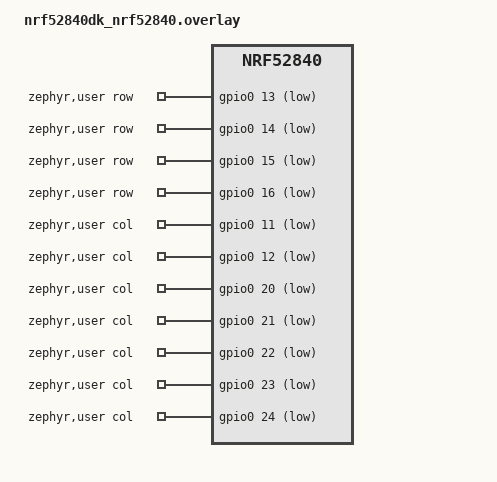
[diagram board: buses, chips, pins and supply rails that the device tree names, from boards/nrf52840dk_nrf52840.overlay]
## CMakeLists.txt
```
cmake_minimum_required(VERSION 3.31)
find_package(Zephyr REQUIRED HINTS $ENV{ZEPHYR_BASE})
project(graphing-calculator)

target_sources(app PRIVATE src/main.c)
target_sources(app PRIVATE src/function.c)
target_sources(app PRIVATE src/stackf.c)
target_sources(app PRIVATE src/graph_display.c)
target_sources(app PRIVATE src/fsm.c)
target_sources(app PRIVATE src/keypad.c)
target_sources(app PRIVATE ../drivers/LED/led.c)
target_sources(app PRIVATE ../drivers/BTN/btn.c)

target_include_directories(app PRIVATE
    ${CMAKE_CURRENT_SOURCE_DIR}/../drivers
)
target_include_directories(app PRIVATE
    ${CMAKE_CURRENT_SOURCE_DIR}/../drivers/BTN
)
target_include_directories(app PRIVATE
    ${CMAKE_CURRENT_SOURCE_DIR}/../drivers/LED
)
```

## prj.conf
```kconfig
CONFIG_GPIO=y
CONFIG_SMF=y
CONFIG_TIMING_FUNCTIONS=y

CONFIG_NEWLIB_LIBC=y

# Including floating point output for debug.
CONFIG_FPU=y
CONFIG_CBPRINTF_FP_SUPPORT=y


# Used for display
CONFIG_DISPLAY=y
CONFIG_LVGL=y
CONFIG_LV_Z_MEM_POOL_SIZE=32768
CONFIG_MAIN_STACK_SIZE=4096
```

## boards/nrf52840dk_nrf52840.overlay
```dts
/ {   
  zephyr,user {
    row_gpios = <&gpio0 13 (GPIO_PULL_UP | GPIO_ACTIVE_LOW)>, <&gpio0 14 (GPIO_PULL_UP | GPIO_ACTIVE_LOW)>, 
                <&gpio0 15 (GPIO_PULL_UP | GPIO_ACTIVE_LOW)>, <&gpio0 16 (GPIO_PULL_UP | GPIO_ACTIVE_LOW)>;

    col_gpios = <&gpio0 11 (GPIO_PULL_UP | GPIO_ACTIVE_LOW)>, <&gpio0 12 (GPIO_PULL_UP | GPIO_ACTIVE_LOW)>,
                <&gpio0 20 (GPIO_PULL_UP | GPIO_ACTIVE_LOW)>, <&gpio0 21 (GPIO_PULL_UP | GPIO_ACTIVE_LOW)>,
                <&gpio0 22 (GPIO_PULL_UP | GPIO_ACTIVE_LOW)>, <&gpio0 23 (GPIO_PULL_UP | GPIO_ACTIVE_LOW)>,
                <&gpio0 24 (GPIO_PULL_UP | GPIO_ACTIVE_LOW)>;
  };
};
```

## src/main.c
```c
#include <zephyr/kernel.h>
#include <zephyr/drivers/gpio.h>
#include <zephyr/sys/printk.h>
#include <zephyr/device.h>

#include "fsm.h"


#define SLEEP_MS 1

int main(void) {
  if (fsm_init() < 0) {
    printk("fsm_init(): failed\n");
  }

  while(1) {
    fsm_run();
    k_msleep(SLEEP_MS);
  }
}
```

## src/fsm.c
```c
#include "fsm.h"

#include <string.h>
#include <zephyr/kernel.h>
#include <zephyr/smf.h>
#include <zephyr/drivers/gpio.h>
#include <zephyr/sys/printk.h>

#include <stdio.h>

#include "function.h"
#include "graph_display.h"
#include "BTN.h"
#include "keypad.h"
#include "stackf.h"

#define FSM_DEBUG 0

#define MAX_FUNCTIONS 5
#define MAX_FUNCTION_TOKENS 32
static Function functions[MAX_FUNCTIONS];
FUNCTION_TOKEN_BUFFER(infix, MAX_FUNCTION_TOKENS);
FUNCTION_TOKEN_BUFFER(postfix, MAX_FUNCTION_TOKENS);
static char input_buffer[MAX_FUNCTION_TOKENS * TOKEN_MAX_LENGTH]; 


static void dead_state(void *o);

static void setup_entry(void *o);

static void draw_entry(void *o);
static enum smf_state_result draw_run(void *o);

static void get_function_entry(void *o);
static enum smf_state_result get_function_run(void *o);
static void get_function_exit(void *o);

static void delete_entry(void *o);


enum fsm_state_def {
  DEAD,
  SETUP,
  DRAW,
  GET_FUNCTION,
  DELETE,
};

typedef struct {
  struct smf_ctx ctx;
} fsm_obj_t;


static const struct smf_state states[] = {
  [DEAD] = SMF_CREATE_STATE(dead_state, NULL, NULL, NULL, NULL),
  [SETUP] = SMF_CREATE_STATE(setup_entry, NULL, NULL, NULL, NULL),
  [DRAW] = SMF_CREATE_STATE(draw_entry, draw_run, NULL, NULL, NULL),
  [GET_FUNCTION] = SMF_CREATE_STATE(get_function_entry, get_function_run, get_function_exit, NULL, NULL),
  [DELETE] = SMF_CREATE_STATE(delete_entry, NULL, NULL, NULL, NULL),
};

static fsm_obj_t fsm_obj;

/*
* Primary Functions
*/
int8_t fsm_init(void) { 
  smf_set_initial(SMF_CTX(&fsm_obj), &states[SETUP]);
  return 0;
}

enum smf_state_result fsm_run(void) {
  return smf_run_state(SMF_CTX(&fsm_obj));
}

/*
* State functions
*/
static void dead_state(void *o) {
#if FSM_DEBUG == 1
  printk("State: DEAD\n");
#endif
}

static void setup_entry(void *o) {
#if FSM_DEBUG == 1
  printk("State: SETUP -> entry\n");
  
  // Init on-board button for debugging purposes
  if (BTN_init() < 0) {
    printk("BTN_init(): failed at line %d in %s\n", __LINE__, __FILE__);
  }
#endif
  if (keypad_init() < 0) {
    smf_set_state(SMF_CTX(&fsm_obj), &states[DEAD]);
    return;
  }

  // Initialize display and screen
  if (display_init() < 0) {
    printk("display_init(): failed at line %d in %s\n", __LINE__, __FILE__);
    smf_set_state(SMF_CTX(&fsm_obj), &states[DEAD]);
    return;
  }

  for (uint8_t i = 0; i < MAX_FUNCTIONS; i++) {
    functions[i].is_active = false;
  }
  smf_set_state(SMF_CTX(&fsm_obj), &states[DRAW]);
}

static void draw_entry(void *o) {
#if FSM_DEBUG == 1
  printk("State: DRAW -> entry\n");
#endif
  display_clean();

  graph_draw_axes();
  for (uint8_t i = 0; i < MAX_FUNCTIONS; i++) {
    if (functions[i].is_active) {
      graph_draw_function(&functions[i]);
    }
  }
}

static enum smf_state_result draw_run(void *o) {
#if FSM_DEBUG == 1
  if (BTN_check_clear_pressed(BTN0)) {
    smf_set_state(SMF_CTX(&fsm_obj), &states[GET_FUNCTION]);
  }

  if (BTN_check_clear_pressed(BTN1)) {
    smf_set_state(SMF_CTX(&fsm_obj), &states[DELETE]);
  }
#endif
  //enum key test = get_key();
  //if (test != KEY_NONE) {
  //  printk("%d\n", test);
  //}
  
  enum key key = keypad_get_key();
  if (key == KEY_GET) {
    smf_set_state(SMF_CTX(&fsm_obj), &states[GET_FUNCTION]);
  }
  else if (key == KEY_DEL) {
    smf_set_state(SMF_CTX(&fsm_obj), &states[DELETE]);
  }

  display_timer_handler(); 

  return SMF_EVENT_HANDLED;
}

static void get_function_entry(void *o) {
#if FSM_DEBUG == 1
  printk("State: GET_FUNCTION -> entry\n"); 
#endif
  input_buffer[0] = '\0';

  graph_draw_get_function(input_buffer, GET_FUNCTION_DRAW);
}

static enum smf_state_result get_function_run(void *o) {
#if FSM_DEBUG == 1
  if (BTN_check_clear_pressed(BTN0)) {
    smf_set_state(SMF_CTX(&fsm_obj), &states[DRAW]);
  }

  if (BTN_check_clear_pressed(BTN1)) {
    snprintk(input_buffer, MAX_FUNCTION_TOKENS * TOKEN_MAX_LENGTH,"%s%s", input_buffer, "sin ( x )");
    graph_draw_get_function(input_buffer, GET_FUNCTION_UPDATE); 
  }

#endif 

  enum key key = keypad_get_key();
  if (key != 255) {
    printk("%d\n", key);
  }

  const char *key_str = keypad_key_to_str(key);

  static bool prev_is_digit = true;
  static size_t cur_len;
  cur_len = 0;
  STACKF_INIT(len_stack);

  // Case for inputting a literal.
  if (key >= KEY_0 && key <= KEY_DOT) { 
    if (!prev_is_digit) {
      snprintk(input_buffer, MAX_FUNCTION_TOKENS * TOKEN_MAX_LENGTH,"%s%s", input_buffer, " ");
      cur_len++;
    }
    snprintk(input_buffer, MAX_FUNCTION_TOKENS * TOKEN_MAX_LENGTH,"%s%s", input_buffer, key_str);
    cur_len += strlen(key_str);

    prev_is_digit = true;
    graph_draw_get_function(input_buffer, GET_FUNCTION_UPDATE); 
  }
  // Case for other input keys. 
  else if (key != KEY_NONE && key != KEY_DEL && key != KEY_GET) {
    snprintk(input_buffer, MAX_FUNCTION_TOKENS * TOKEN_MAX_LENGTH,"%s%s", input_buffer, " ");
    snprintk(input_buffer, MAX_FUNCTION_TOKENS * TOKEN_MAX_LENGTH,"%s%s", input_buffer, key_str);
    cur_len += 1 + strlen(key_str);

    prev_is_digit = false;
    graph_draw_get_function(input_buffer, GET_FUNCTION_UPDATE); 
  } 
  // Case for deleting last input.
  else if (key == KEY_DEL && (int)stackf_peek(&len_stack) != 0) {
    input_buffer[strlen(input_buffer) - (size_t)stackf_pop(&len_stack)] = '\0'; 
    graph_draw_get_function(input_buffer, GET_FUNCTION_UPDATE);
  }
  // Case for exiting and drawing the input function.
  else if (key == KEY_GET) {
    smf_set_state(SMF_CTX(&fsm_obj), &states[DRAW]); 
  }

  if (cur_len > 0) {
    stackf_push(&len_stack, cur_len);
  }

  display_timer_handler();
  return SMF_EVENT_HANDLED;
}

static void get_function_exit(void *o) {
#if FSM_DEBUG == 1
  printk("State: GET_FUNCTION -> exit\n");
#endif
  // Convert the input buffer to the infix token buffer
  uint16_t i = 0;
  char* token = strtok(input_buffer, " ");
  while (token) {
    strcpy(infix[i], token);
    token = strtok(NULL, " ");
    i++;
  }
  infix[i][0] = '\0';

  // Evaluate the infix token buffer as a new function
  for (uint8_t j = 0; j < MAX_FUNCTIONS; j++) {
    if (!functions[j].is_active) {
      if (function_infix_to_postfix(infix, postfix, MAX_FUNCTION_TOKENS) < 0) break;
      float x = X_MIN;
      for (uint16_t k = 0; k < FUNCTION_NUM_POINTS; k++) {
        functions[j].x[k] = x;
        functions[j].y[k] = function_evaluate_postfix(postfix, x);
        x += X_INCREMENT;
      }    
      functions[j].is_active = true;
      break;
    }
  }
}

static void delete_entry(void *o) {
#if FSM_DEBUG == 1
  printk("State: DELETE -> entry\n");
#endif
  uint8_t i = 0;
  while (i < MAX_FUNCTIONS && functions[i].is_active) i++;
  functions[i - 1].is_active = false;
  
  smf_set_state(SMF_CTX(&fsm_obj), &states[DRAW]);
}
```

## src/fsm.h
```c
/**
 * Manages the graphing calculator state machine
 */

#ifndef FSM_H_
#define FSM_H_

#include <zephyr/smf.h>

/**
 * Initializes the state machine
 */
int8_t fsm_init(void);

/**
 * Runs the current state of the state machine
 */
enum smf_state_result fsm_run(void);

#endif
```

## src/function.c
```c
#include "function.h"

#include <zephyr/kernel.h>

#include <stdbool.h>
#include <stdlib.h>
#include <string.h>
#include <math.h>

#include "stackf.h"


#define IS_OPERATOR(str) (__function_get_token_type(str) == TOKEN_OPERATOR)
#define IS_FUNCTION(str) (__function_get_token_type(str) == TOKEN_FUNCTION)
#define IS_LEFT_PARENTHESIS(str) (!strncmp((str), "(", TOKEN_MAX_LENGTH - 1))
#define GET_PRECEDENCE(str) (__function_get_operator_attribute((str), OPERATOR_PRECEDENCE))
#define GET_ASSOCIATIVITY(str) (__function_get_operator_attribute((str), OPERATOR_ASSOCIATIVITY))

static TokenType __function_get_token_type(const char *token);
static float __function_get_constant(const char *token);
static int8_t __function_get_operator_attribute(const char *token, OperatorAttribute attribute);

static const Token possible_tokens[] = {
  // Operators
  { .token_type=TOKEN_OPERATOR, .operator={ "+", 2, __LEFT } },
  { .token_type=TOKEN_OPERATOR, .operator={ "-", 2, __LEFT } },
  { .token_type=TOKEN_OPERATOR, .operator={ "*", 3, __LEFT } },
  { .token_type=TOKEN_OPERATOR, .operator={ "/", 3, __LEFT } },
  { .token_type=TOKEN_OPERATOR, .operator={ "^", 4, __RIGHT } },

  // Functions
  { .token_type=TOKEN_FUNCTION, .function="sin" },
  { .token_type=TOKEN_FUNCTION, .function="cos" },
  { .token_type=TOKEN_FUNCTION, .function="tan" },
  { .token_type=TOKEN_FUNCTION, .function="abs" },
  { .token_type=TOKEN_FUNCTION, .function="sqrt" },
  { .token_type=TOKEN_FUNCTION, .function="ln" },
  { .token_type=TOKEN_FUNCTION, .function="floor" },
  { .token_type=TOKEN_FUNCTION, .function="ceil" },

  // Constants
  { .token_type=TOKEN_CONSTANT, .constant={ "pi",  _M_PI } },
  { .token_type=TOKEN_CONSTANT, .constant={ "e",  _M_E } },

  // Used to indicate searching for token should stop.
  { .token_type=TOKEN_NONE },
};



/**
 * Implements a shunting-yard algorithm for infix to postfix conversion
 */
int8_t function_infix_to_postfix(char (*infix)[TOKEN_MAX_LENGTH], char (*postfix)[TOKEN_MAX_LENGTH], size_t token_buffer_size) {
  OPERATOR_STACK_INIT(operator_stack);
  operator_stack.top = -1;  // Reset stack state because it is static.

  char operator_stack_element_buffer[TOKEN_MAX_LENGTH];

  size_t i = 0;
  // Loops through all tokens in infix form, converting it to postfix form
  while((*infix)[0] != '\0' && i < token_buffer_size - 1) {
    char *token = *infix;
    TokenType token_type = __function_get_token_type(token);

    if(token_type == TOKEN_NONE) return -1;  // Fails if token is not a valid type.

    // Case for if token is a float literal or constant.
    if(token_type == TOKEN_LITERAL || token_type == TOKEN_CONSTANT || token_type == TOKEN_X) {
      strncpy(*postfix, token, TOKEN_MAX_LENGTH - 1);
      postfix++;
    }

    // Case for if token is a function.
    else if(token_type == TOKEN_FUNCTION) {
      ostack_push(&operator_stack, token); 
    }

    // Case for if token is an operator.
    else if(token_type == TOKEN_OPERATOR) {
      while(ostack_peek(&operator_stack, operator_stack_element_buffer) != NULL &&
            IS_OPERATOR(operator_stack_element_buffer) && 
            !IS_LEFT_PARENTHESIS(operator_stack_element_buffer) &&
            (GET_PRECEDENCE(operator_stack_element_buffer) > GET_PRECEDENCE(token) ||
             (GET_PRECEDENCE(operator_stack_element_buffer) == GET_PRECEDENCE(token) &&
              GET_ASSOCIATIVITY(token) == __LEFT))) 
      {
        ostack_pop(&operator_stack, *postfix);
        postfix++;
      }
      ostack_push(&operator_stack, token);
    }

    // Case for if token is a left parenthesis.
    else if(token_type == TOKEN_PARENTHESIS && !strncmp(token, "(", TOKEN_MAX_LENGTH - 1)) {
      ostack_push(&operator_stack, token);
    }

    // Case for if token is a right parenthesis.
    else if(token_type == TOKEN_PARENTHESIS && !strncmp(token, ")", TOKEN_MAX_LENGTH - 1)) {
      while(ostack_peek(&operator_stack, operator_stack_element_buffer) != NULL &&
            strncmp(operator_stack_element_buffer, "(", TOKEN_MAX_LENGTH - 1))
      {
        // Mismatched parentheses
        if(ostack_peek(&operator_stack, operator_stack_element_buffer) == NULL) {
          return -1;
        }
        ostack_pop(&operator_stack, *postfix);
        postfix++;
      }
      // Mismatched parentheses
      if(ostack_peek(&operator_stack, operator_stack_element_buffer) != NULL &&
         strncmp(operator_stack_element_buffer, "(", TOKEN_MAX_LENGTH - 1))
      {
          return -1;
      } 
      ostack_pop(&operator_stack, operator_stack_element_buffer); // Discard left parentheses.
      if(ostack_peek(&operator_stack, operator_stack_element_buffer) != NULL &&
         IS_FUNCTION(operator_stack_element_buffer))
      {
        ostack_pop(&operator_stack, *postfix);
        postfix++;
      }
    }

    infix++;
    i++;
  } 

  // Pop the remaining items from the operator stack to the postfix queue.
  while(ostack_peek(&operator_stack, operator_stack_element_buffer) != NULL) {
    // Mismatched parentheses.
    if(!strncmp(operator_stack_element_buffer, "(", TOKEN_MAX_LENGTH - 1)) {
      return -1;
    }
    
    ostack_pop(&operator_stack, *postfix);

    postfix++;
  }
 
  // Ensures the final token of each postfix expression is known.
  (*postfix)[0] = '\0';
  
  return 0;
}


float function_evaluate_postfix(char (*postfix)[TOKEN_MAX_LENGTH], float x_val) {
  STACKF_INIT(operand_stack);
  operand_stack.top = -1;  // Reset stack state because it is static.

  while(*postfix[0]) {
    char *token = *postfix;
    TokenType token_type = __function_get_token_type(token);

    // Pushing any numbers, or x, to the operand stack.
    if(token_type == TOKEN_LITERAL) {
      stackf_push(&operand_stack, strtod(token, NULL));
    }
    else if(token_type == TOKEN_CONSTANT) {
      stackf_push(&operand_stack, __function_get_constant(token));
    }
    else if(token_type == TOKEN_X) {
      stackf_push(&operand_stack, x_val);
    }

    // Apply a unary function to the next operand on the stack.
    else if(token_type == TOKEN_FUNCTION) {
      if(!strncmp(token, "sin", TOKEN_MAX_LENGTH - 1)) {
        stackf_push(&operand_stack, (float)sin((double)stackf_pop(&operand_stack)));
      }
      else if(!strncmp(token, "cos", TOKEN_MAX_LENGTH - 1)) {
        stackf_push(&operand_stack, (float)cos((double)stackf_pop(&operand_stack)));
      }
      else if(!strncmp(token, "tan", TOKEN_MAX_LENGTH - 1)) {
        stackf_push(&operand_stack, (float)tan((double)stackf_pop(&operand_stack)));
      }
      else if(!strncmp(token, "abs", TOKEN_MAX_LENGTH - 1)) {
        stackf_push(&operand_stack, (float)fabs((double)stackf_pop(&operand_stack)));
      }
      else if(!strncmp(token, "sqrt", TOKEN_MAX_LENGTH - 1)) {
        stackf_push(&operand_stack, (float)sqrt((double)stackf_pop(&operand_stack)));
      }
      else if(!strncmp(token, "ln", TOKEN_MAX_LENGTH - 1)) {
        stackf_push(&operand_stack, (float)log((double)stackf_pop(&operand_stack)));
      }
      else if(!strncmp(token, "floor", TOKEN_MAX_LENGTH - 1)) {
        stackf_push(&operand_stack, (float)floor((double)stackf_pop(&operand_stack)));
      }
      else if(!strncmp(token, "ceil", TOKEN_MAX_LENGTH - 1)) {
        stackf_push(&operand_stack, (float)ceil((double)stackf_pop(&operand_stack)));
      }
    }

    // Apply binary operators to the next two operands on the stack.
    else if(token_type == TOKEN_OPERATOR) {
      float operand_one = stackf_pop(&operand_stack);
      float operand_two = stackf_pop(&operand_stack);
      if(!strncmp(token, "+", TOKEN_MAX_LENGTH - 1)) {
        stackf_push(&operand_stack, operand_two + operand_one);
      }
      else if(!strncmp(token, "-", TOKEN_MAX_LENGTH - 1)) {
        stackf_push(&operand_stack, operand_two - operand_one);
      }
      else if(!strncmp(token, "*", TOKEN_MAX_LENGTH - 1)) {
        stackf_push(&operand_stack, operand_two * operand_one);
      }
      else if(!strncmp(token, "/", TOKEN_MAX_LENGTH - 1)) {
        stackf_push(&operand_stack, operand_two / operand_one);
      }
      else if(!strncmp(token, "^", TOKEN_MAX_LENGTH - 1)) {
        stackf_push(&operand_stack, (float)pow((double)operand_two, (double)operand_one));
      }
    }

    postfix++;
  }
  
  return stackf_pop(&operand_stack);
}


static TokenType __function_get_token_type(const char *token) { 
  // Compare token with the defined token types
  const Token *possible_token = possible_tokens;
  while(possible_token->token_type != TOKEN_NONE) { 
    if(possible_token->token_type == TOKEN_OPERATOR && !strncmp(possible_token->operator.symbol, token, TOKEN_MAX_LENGTH - 1)) {
      return TOKEN_OPERATOR;
    }
    else if(possible_token->token_type == TOKEN_FUNCTION && !strncmp(possible_token->function, token, TOKEN_MAX_LENGTH - 1)) {
      return TOKEN_FUNCTION;
    }
    else if(possible_token->token_type == TOKEN_CONSTANT && !strncmp(possible_token->constant.symbol, token, TOKEN_MAX_LENGTH - 1)) {
      return TOKEN_CONSTANT;
    }

    possible_token++;
  } 

  // Check if token is a float literal.
  char *endptr;
  strtod(token, &endptr);
  if(endptr != token) return TOKEN_LITERAL;

  // Check if TOKEN is a symbol of none of the above types.
  if(strlen(token) == 1) {
    char token_chr = token[0];
    if(token_chr == 'x') return TOKEN_X;
    else if(token_chr == '(' || token_chr == ')') return TOKEN_PARENTHESIS;
  }


  return TOKEN_NONE;
}

static float __function_get_constant(const char *token) {
  const Token *possible_token = possible_tokens;
  while(possible_tokens->token_type != TOKEN_NONE) {
    if(possible_token->token_type == TOKEN_CONSTANT && !strncmp(possible_token->constant.symbol, token, TOKEN_MAX_LENGTH - 1)) {
      return possible_token->constant.value;
    }

    possible_token++;
  }

  return 0.0;
}

static int8_t __function_get_operator_attribute(const char *token, OperatorAttribute attribute) {
  const Token *possible_token = possible_tokens;
  while(possible_tokens->token_type != TOKEN_NONE) {
    if(possible_token->token_type == TOKEN_OPERATOR && !strncmp(possible_token->operator.symbol, token, TOKEN_MAX_LENGTH - 1)) {
      if(attribute == OPERATOR_PRECEDENCE) {
        return possible_token->operator.precedence;
      }
      else if(attribute == OPERATOR_ASSOCIATIVITY) {
        return possible_token->operator.associativity;
      }
    }

    possible_token++;
  }

  return 0;
}

/*
* Operator Stack Components
*/
char *ostack_peek(OperatorStack *stack, char *dest) {
  if(stack->top == -1) return NULL;

  return strncpy(dest, stack->data[stack->top], TOKEN_MAX_LENGTH - 1);
}

char *ostack_pop(OperatorStack *stack, char *dest) {
  if(stack->top == -1) return NULL;

  char *ret = strncpy(dest, stack->data[stack->top], TOKEN_MAX_LENGTH - 1);
  stack->top--;

  return ret;
}

int8_t ostack_push(OperatorStack *stack, char *str) {
  if(stack->top == OPERATOR_STACK_CAPACITY - 1) return 0;

  stack->top++;

  strncpy(stack->data[stack->top], str, TOKEN_MAX_LENGTH - 1);

  return 1;
}
```

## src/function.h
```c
#ifndef FUNCTION_H_
#define FUNCTION_H_

#include "misc/lv_area.h"
#include "misc/lv_style.h"
#include <stdbool.h>
#include <stdint.h>
#include <stddef.h>

#define TOKEN_MAX_LENGTH 8
#define FUNCTION_NUM_POINTS 512

// Should end with a NULL.
#define FUNCTION_TOKEN_BUFFER(name, size) static char (name)[size][TOKEN_MAX_LENGTH]

#define __LEFT 'L'
#define __RIGHT 'R'

#define _M_PI 3.14159265358979323846
#define _M_E  2.7182818284590452354

/**
 * Contains information about a function, including all its points in
 * floating-point format, as well as the LVGL points to draw
 */
typedef struct Function {
  float x[FUNCTION_NUM_POINTS];
  float y[FUNCTION_NUM_POINTS];
  lv_point_precise_t points[FUNCTION_NUM_POINTS];
  lv_style_t style;
  bool is_active;
} Function;

/**
 * Different types of tokens that arre recognized by the function parser
 */
typedef enum TokenType {
  TOKEN_NONE,
  TOKEN_OPERATOR,
  TOKEN_FUNCTION,
  TOKEN_CONSTANT,
  TOKEN_LITERAL,
  TOKEN_PARENTHESIS,
  TOKEN_X
} TokenType;

/**
 * Operator attributes required for each operator when converting to postfix
 * notation
 */
typedef enum OperatorAttribute {
  OPERATOR_PRECEDENCE,
  OPERATOR_ASSOCIATIVITY
} OperatorAttribute;


/**
 * Describes a single operator in its required detail
 */
typedef struct Operator {
  char *symbol;
  int8_t precedence;
  char associativity;
} Operator;

/**
 * Describes constant values (e.g. pi)
 */
typedef struct Constant {
  char *symbol;
  float value;
} Constant;

/**
 * Describes a single token of an input infix string
 */
typedef struct Token {
  TokenType token_type;
  union {
    Operator operator;
    char *function;
    Constant constant;
  };
} Token;

/**
 * Performs a full infix to postfix function conversion, which must be ones
 * before it can be evaluated for a given x input.
 *
 * Returns a negative integer on failure.
 */
int8_t function_infix_to_postfix(char (*infix)[TOKEN_MAX_LENGTH], char (*postfix)[TOKEN_MAX_LENGTH], size_t token_buffer_size);

/**
 * Evaluates a given postfix function for a given input x value. Evaluates y,
 * and returns it.
 */
float function_evaluate_postfix(char (*postfix)[TOKEN_MAX_LENGTH], float x_val);

/*
* Operator Stack Components
*/
#define OPERATOR_STACK_CAPACITY 256

typedef struct OperatorStack {
  char data[OPERATOR_STACK_CAPACITY][TOKEN_MAX_LENGTH];
  int32_t top;
} OperatorStack;

#define OPERATOR_STACK_INIT(_name) static OperatorStack _name = { .top=-1 }

char *ostack_peek(OperatorStack *stack, char *dest);
char *ostack_pop(OperatorStack *stack, char* dest);
int8_t ostack_push(OperatorStack *stack, char *str);

#endif
```

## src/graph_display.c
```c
#include "graph_display.h"
#include "core/lv_obj_pos.h"
#include "core/lv_obj_style.h"

#include <zephyr/device.h>
#include <zephyr/drivers/display.h>
#include <zephyr/sys/printk.h>


#include "function.h"
#include "misc/lv_color.h"
#include "misc/lv_palette.h"
#include "widgets/label/lv_label.h"
#include "widgets/line/lv_line.h"
#include "misc/lv_area.h"
#include "misc/lv_style.h"
#include "misc/lv_style_gen.h"
#include "stdint.h"

#include "lvgl.h"
#include "display/lv_display.h"


static const struct device *display_dev = DEVICE_DT_GET(DT_CHOSEN(zephyr_display));
static lv_obj_t *screen = NULL;

static const uint32_t color_queue[NUM_COLORS] = { COLOR_BLUE, COLOR_RED, COLOR_BLACK, COLOR_MAGENTA, COLOR_GREEN };
static uint8_t color_index = 0;

int8_t display_init(void) {
  if(!device_is_ready(display_dev)) {
    printk("device_is_ready(): failed\n");
    return -1;
  }

  screen = lv_screen_active();
  if(screen == NULL) {
    printk("lv_screen_active(): failed\n");
    return -1;
  }

  display_blanking_off(display_dev);

  return 0;
}

void display_clean(void) {
  display_timer_handler();
  lv_obj_clean(screen);
  color_index = 0;
}

void graph_draw_axes(void) {
  static lv_style_t axis_style;
  lv_style_init(&axis_style);
  lv_style_set_line_width(&axis_style, 1);
  lv_style_set_line_color(&axis_style, lv_color_hex(COLOR_BLACK));
  
  /*
  * Draw axis main lines
  */
  static lv_point_precise_t main_axes[2][2] = {
    { { 0, SCREEN_Y_MID }, { SCREEN_WIDTH, SCREEN_Y_MID } },
    { { SCREEN_X_MID, 0 }, { SCREEN_X_MID, SCREEN_HEIGHT } }
  };
  // x-axis
  graph_draw_line(main_axes[0], 2, &axis_style);
  // y-axis
  graph_draw_line(main_axes[1], 2, &axis_style);

  /*
  * Draw axis ticks
  */
  static lv_point_precise_t axis_xticks[21][2];
  for (int16_t x = 0, i = 0; x < SCREEN_WIDTH; x += SCREEN_TICK_WIDTH_X, i++) {
    axis_xticks[i][0].x = x;
    axis_xticks[i][0].y = SCREEN_Y_MID - 3;
    axis_xticks[i][1].x = x;
    axis_xticks[i][1].y = SCREEN_Y_MID + 4;
    graph_draw_line(axis_xticks[i], 2, &axis_style);
    if (x == SCREEN_X_MID) x--;
  }
  static lv_point_precise_t axis_yticks[21][2];
  for (int16_t y = 0, i = 0; y < SCREEN_HEIGHT; y += SCREEN_TICK_WIDTH_Y, i++) {
    axis_yticks[i][0].x = SCREEN_X_MID - 3;
    axis_yticks[i][0].y = y;
    axis_yticks[i][1].x = SCREEN_X_MID + 4;
    axis_yticks[i][1].y = y;
    graph_draw_line(axis_yticks[i], 2, &axis_style);
    if (y == SCREEN_Y_MID) y--;
  }
}

void graph_draw_function(Function *func) { 
  lv_style_init(&func->style);
  lv_style_set_line_width(&func->style, 2);
  lv_style_set_line_color(&func->style, lv_color_hex(color_queue[color_index]));
  color_index == NUM_COLORS - 1 ? color_index = 0 : color_index++;

  // Default num_asymptotes to 1 because the first the points prior to the first asymptote must be drawn
  uint16_t asymptote_indices[100] = {0}; 
  uint16_t num_asymptotes = 1;
  // Convert all function x and y values to pixel coordinate points, keeping track of asymptotes
  for (uint16_t i = 0; i < FUNCTION_NUM_POINTS; i++) {
    if (i > 0 && (func->y[i] + Y_SPAN < func->y[i - 1] || func->y[i] - Y_SPAN > func->y[i - 1])) {
      asymptote_indices[num_asymptotes] = i;
      num_asymptotes++;
    }

    func->points[i].x = SCREEN_X_COORD(i);
    func->points[i].y = SCREEN_Y_COORD(func->y[i]);
  }
  asymptote_indices[num_asymptotes] = FUNCTION_NUM_POINTS;

  // Draw graph, preventing connection of points on asymptotes
  for (uint16_t i = 0; i < num_asymptotes; i++) {
    graph_draw_line(func->points + asymptote_indices[i], asymptote_indices[i + 1] - asymptote_indices[i], &func->style);
  }
}

void graph_draw_get_function(const char *text, enum get_function_state state) {
  char display_text[TOKEN_MAX_LENGTH * 32] = {0};
  snprintk(display_text, TOKEN_MAX_LENGTH * 32, "y = %s", text);

  static lv_obj_t *box_label;

  if (state == GET_FUNCTION_DRAW) {
    static lv_point_precise_t points[2] = { { 0, 15 }, { SCREEN_WIDTH, 15 } };

    static lv_style_t style;
    lv_style_init(&style);
    lv_style_set_line_width(&style, 30);
    lv_style_set_line_color(&style, lv_color_hex(COLOR_LIGHT_GRAY));

    static lv_obj_t *box;
    box = lv_line_create(screen);
    lv_line_set_points(box, points, 2);
    lv_obj_add_style(box, &style, 0);

    box_label = lv_label_create(box);
    lv_label_set_text(box_label, display_text);
    lv_label_set_long_mode(box_label, LV_LABEL_LONG_MODE_WRAP);
    lv_obj_set_width(box_label, SCREEN_WIDTH - 20);
    lv_obj_align(box_label, LV_ALIGN_TOP_LEFT, 0, 0); 
  }

  else if (state == GET_FUNCTION_UPDATE) {
    lv_label_set_text(box_label, display_text);
  }
}

void graph_draw_line(const lv_point_precise_t *points, size_t num_points, lv_style_t *style) {
  lv_obj_t *line = lv_line_create(screen);
  lv_line_set_points(line, points, num_points);
  lv_obj_add_style(line, style, 0);
}
```

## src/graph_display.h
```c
#ifndef GRAPH_DISPLAY_H_
#define GRAPH_DISPLAY_H_

#include "misc/lv_area.h"
#include "stdint.h"
#include "lvgl.h"
#include "function.h"

#include "misc/lv_timer.h"
#include <stdint.h>

#define ABS(a)          ((a) >= 0 ? a : -1 * (a))

#define X_MAX           10
#define X_MIN           -10
#define Y_MAX           10
#define Y_MIN           -10
#define X_MID           ((X_MAX + X_MIN) / 2)
#define Y_MID           ((Y_MAX + Y_MIN) / 2)
#define X_SPAN          (ABS(X_MAX) + ABS(X_MIN))
#define Y_SPAN          (ABS(Y_MAX) + ABS(Y_MIN))
#define X_INCREMENT     ((float)X_SPAN / FUNCTION_NUM_POINTS)

#define SCREEN_WIDTH            320
#define SCREEN_HEIGHT           240
#define SCREEN_X_MID            (SCREEN_WIDTH / 2)
#define SCREEN_Y_MID            (SCREEN_HEIGHT / 2)
#define SCREEN_TICK_WIDTH_X     (SCREEN_WIDTH / X_SPAN)
#define SCREEN_TICK_WIDTH_Y     (SCREEN_HEIGHT / Y_SPAN)
#define SCREEN_X_SCALER         ((float)SCREEN_WIDTH / FUNCTION_NUM_POINTS)
#define SCREEN_X_COORD(i)       ((int)((i) * SCREEN_X_SCALER))
#define SCREEN_Y_COORD(y)       ((int)(SCREEN_Y_MID + -1 * (y) * (SCREEN_HEIGHT / Y_SPAN))) 

#define NUM_COLORS      5
#define COLOR_BLUE        0xff0000
#define COLOR_RED         0x0000ff
#define COLOR_BLACK       0x000000
#define COLOR_MAGENTA     0xcd34bd
#define COLOR_GREEN       0x208520
#define COLOR_LIGHT_GRAY  0x878787

enum get_function_state {
  GET_FUNCTION_DRAW,
  GET_FUNCTION_UPDATE
};

/**
 * Initializes the display shield.
 *
 * Returns a negative integer on failure.
 */
int8_t display_init(void);

/**
 * Cleans the screen, removing all objects drawn to it.
 */
void display_clean(void);

/**
 * Draw the cartesian planes axes to the screen.
 */
void graph_draw_axes(void);

/**
 * Draws a function to the screen by using a finite number of points, and
 * connecting them with lines
 */
void graph_draw_function(Function *func);


/**
 * Draw the function input prompt, displaying the current input text
 */
void graph_draw_get_function(const char *text, enum get_function_state state);


/**
 * Draw a line that connects a given number of points
 */
void graph_draw_line(const lv_point_precise_t *points, size_t num_points, lv_style_t *style);

static inline void display_timer_handler(void) {
  lv_timer_handler();
}

#endif
```

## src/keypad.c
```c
#include "keypad.h"

#include <zephyr/kernel.h>
#include <zephyr/drivers/gpio.h>

static const struct gpio_dt_spec row[NUM_ROWS] = {
    GPIO(row_gpios, 0), GPIO(row_gpios, 1), GPIO(row_gpios, 2),
    GPIO(row_gpios, 3)};
static const struct gpio_dt_spec col[NUM_COLS] = {
    GPIO(col_gpios, 0), GPIO(col_gpios, 1), GPIO(col_gpios, 2),
    GPIO(col_gpios, 3), GPIO(col_gpios, 4), GPIO(col_gpios, 5),
    GPIO(col_gpios, 6)};

static const char *key_map[] = {
  [KEY_0] = "0",
  [KEY_1] = "1",
  [KEY_2] = "2",
  [KEY_3] = "3",
  [KEY_4] = "4",
  [KEY_5] = "5",
  [KEY_6] = "6",
  [KEY_7] = "7",
  [KEY_8] = "8",
  [KEY_9] = "9",
  [KEY_NEG] = "-",
  [KEY_DOT] = ".",
  [KEY_SIN] = "sin",
  [KEY_COS] = "cos",
  [KEY_TAN] = "tan",
  [KEY_RB] = ")",
  [KEY_LB] = "(",
  [KEY_ADD] = "+",
  [KEY_MIN] = "-",
  [KEY_MUL] = "*",
  [KEY_DIV] = "/",
  [KEY_X] = "x",
  [KEY_PI] = "pi",
  [KEY_E] = "e",
  [KEY_POW] = "^",
  [KEY_LN] = "ln",
  [KEY_SQRT] = "sqrt",
  [KEY_ABS] = "abs",
};

/**
 * Physical keypad layout
 */
static uint8_t keys[NUM_ROWS][NUM_COLS] = {
  { KEY_7, KEY_8,   KEY_9,   KEY_DIV, KEY_POW, KEY_SIN, KEY_GET  },
  { KEY_4, KEY_5,   KEY_6,   KEY_MUL, KEY_LB , KEY_COS, KEY_DEL  },
  { KEY_1, KEY_2,   KEY_3,   KEY_MIN, KEY_RB , KEY_TAN, KEY_SQRT },
  { KEY_0, KEY_DOT, KEY_NEG, KEY_ADD, KEY_X  , KEY_LN , KEY_E    },
};

/**
 * Makes a single row of the keypad active.
 */
static void keypad_select_row(uint8_t row_num);

int keypad_init() {
  // Initialize row GPIO pins
  for (uint8_t i = 0; i < NUM_ROWS; i++) {
    if (!gpio_is_ready_dt(&row[i])) {
      printk("gpio_is_read_dt(): failed at line %d in %s\n", __LINE__, __FILE__);
      return -1;
    }

    if (gpio_pin_configure_dt(&row[i], GPIO_OUTPUT_HIGH)) {
      printk("gpio_pin_configure_dt(): failed at line %d in %s\n", __LINE__, __FILE__);
      return -1;
    }
  }

  // Initialize column GPIO pins
  for (uint8_t i = 0; i < NUM_COLS; i++) {
    if (!gpio_is_ready_dt(&col[i])) {
      printk("gpio_is_read_dt(): failed at line %d in %s\n", __LINE__, __FILE__);
      return -1;
    }
    if (gpio_pin_configure_dt(&col[i], GPIO_INPUT)) {
      printk("gpio_pin_configure_dt(): failed at line %d in %s\n", __LINE__, __FILE__);
      return -1;
    } 
  }

  return 0;
}

enum key keypad_get_key() {
  static bool lifted = true;
  static bool pressed = false;

  // Scan each row
  k_msleep(10);
  for(int8_t i = 0; i < NUM_ROWS; i++) {
    keypad_select_row(i);
    k_msleep(10);

    // Check each key in the current row, returning a key if it is pressed.
    for(int8_t j = 0; j < NUM_COLS; j++) {
      if(gpio_pin_get_dt(&col[j])) {
        pressed = true;
        if (lifted) { 
          lifted = false;
          return keys[i][j];
        }
      } 
    }
  }
  if (!pressed) {
    lifted = true;
  }
  pressed = false;

  return KEY_NONE;
}

const char *keypad_key_to_str(enum key key) {
  return key_map[key];
}

static void keypad_select_row(uint8_t row_num) {
  // Reset previous row to floating
  gpio_pin_configure_dt(&row[(row_num - 1 + NUM_ROWS) % NUM_ROWS], GPIO_OUTPUT_HIGH);

  // Set selected row to HIGH
  gpio_pin_configure_dt(&row[row_num], GPIO_OUTPUT_LOW);
}
```

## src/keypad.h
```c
#ifndef KEYPAD_H_
#define KEYPAD_H_

#include <zephyr/kernel.h>
#include <zephyr/drivers/gpio.h>


#define NUM_ROWS 4
#define NUM_COLS 7
#define ZEPHYR_USER_NODE DT_PATH(zephyr_user)
#define GPIO(id, idx) GPIO_DT_SPEC_GET_BY_IDX(ZEPHYR_USER_NODE, id, idx)

enum key {
  KEY_0, KEY_1, KEY_2,
  KEY_3, KEY_4, KEY_5,
  KEY_6, KEY_7, KEY_8,
  KEY_9, KEY_NEG, KEY_DOT,
  KEY_SIN, KEY_COS, KEY_TAN,
  KEY_RB, KEY_LB, KEY_ADD,
  KEY_MIN, KEY_MUL, KEY_DIV,
  KEY_X, KEY_PI, KEY_E,
  KEY_POW, KEY_LN, KEY_SQRT,
  KEY_ABS, KEY_DEL, KEY_GET,
  KEY_NONE
};

/**
 * Initializes the GPIO pins for the keypad.
 *
 * Returns a negative integer on failure.
 */
int keypad_init(void);

/**
 * Gets a single key that is currently pressed. If multiple keys are pressed,
 * only one will be registered, which is determined by the scanning order.
 */
enum key keypad_get_key(void);

/**
 * Returns the string associated with a given key.
 */
const char *keypad_key_to_str(enum key key);

#endif
```

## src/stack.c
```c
#include <string.h>

#include "stack.h"
#include "zephyr/kernel.h"
#include "zephyr/sys/printk.h"

char *stack_peek(Stack *stack, char *dest) {
  if(stack->top == -1) return NULL;

  return strcpy(dest, stack->data[stack->top]);
}

char *stack_pop(Stack *stack, char *dest) {
  if(stack->top == -1) return NULL;

  char *ret = strcpy(dest, stack->data[stack->top]);
  stack->top--;

  return ret;
}

int8_t stack_push(Stack *stack, char *str) {
  if(stack->top == STACK_CAPACITY - 1) return 0;

  stack->top++;

  strcpy(stack->data[stack->top], str);

  return 1;
}
```

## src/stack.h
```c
#ifndef STACK_H_
#define STACK_H_

#include "zephyr/kernel.h"
#include <stdint.h>

#define STACK_CAPACITY 1024

typedef struct Stack {
  char data[STACK_CAPACITY][16];
  int32_t top;
} Stack;

#define STACK_INIT(_name) static Stack _name = { .top=-1 }

char *stack_peek(Stack *stack, char *dest);
char *stack_pop(Stack *stack, char* dest);
int8_t stack_push(Stack *stack, char *str);

#endif
```

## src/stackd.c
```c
#include "stackd.h"
#include <stdbool.h>

double stackd_peek(StackD *stack) {
  if(stack->top == -1) return 0;

  return stack->data[stack->top];
}

double stackd_pop(StackD *stack) {
  if(stack->top == -1) return 0;

  double ret = stack->data[stack->top];
  stack->top--;
  return ret;
}

int8_t stackd_push(StackD *stack, double val) {
  if(stack->top == STACKD_CAPACITY - 1) return 0;

  stack->top++;
  stack->data[stack->top] = val;

  return 1;

}

bool stackd_is_empty(StackD *stack) {
  return stack->top == -1 ? true : false;
}
```

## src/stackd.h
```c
#ifndef STACKD_H_
#define STACKD_H_

#include <stdint.h>

#define STACKD_CAPACITY 256

typedef struct StackD {
  double data[STACKD_CAPACITY];
  int32_t top;
} StackD;

#define STACKD_INIT(_name) static StackD _name = { .top=-1 }

double stackd_peek(StackD *stack);
double stackd_pop(StackD *stack);
int8_t stackd_push(StackD *stack, double val);

#endif
```
